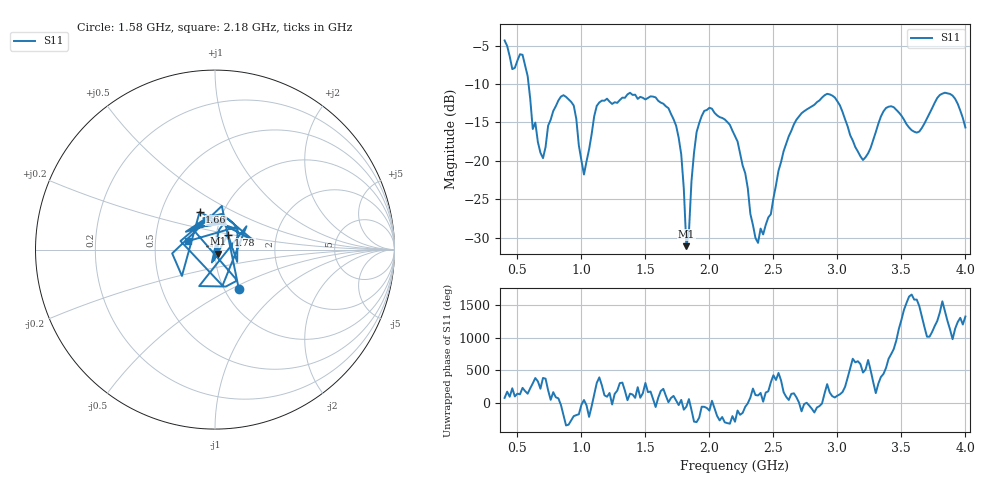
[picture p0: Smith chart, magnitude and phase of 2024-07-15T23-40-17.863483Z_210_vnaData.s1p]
!Created with skrf (http://scikit-rf.org).
# Hz S RI R 50.0
!freq ReS11 ImS11
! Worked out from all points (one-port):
!   181 points, 400 MHz to 4 GHz, reference 50 ohm
!   lowest |S11| = -31.1 dB at 1.82 GHz (marker M1), VSWR 1.06, Z = 51.6 - j2.34 ohm
!   |S11| at or under -10 dB: 587.1 MHz to end of sweep
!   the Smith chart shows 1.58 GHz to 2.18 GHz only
!   S11 on the Smith chart (normalised r, x): 1.58 GHz: 1.17, -0.55; 1.66 GHz: 0.78, +0.34; 1.78 GHz: 1.14, +0.19; 2.18 GHz: 0.74, +0.07
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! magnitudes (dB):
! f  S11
! 400 MHz  -4.3
! 460 MHz  -8.1
! 540 MHz  -6.2
! 620 MHz  -15.8
! 700 MHz  -19.6
! 860 MHz  -11.5
! 940 MHz  -12.8
! 1.02 GHz  -21.8
! 1.12 GHz  -12.8
! 1.3 GHz  -12.1
! 1.58 GHz  -11.7
! 1.66 GHz  -12.9
! 1.76 GHz  -17.0
! 1.78 GHz  -19.2
! 1.82 GHz  -31.1
! 1.88 GHz  -18.9
! 1.94 GHz  -14.2
! 2.18 GHz  -16.1
! 2.2 GHz  -16.8
! 2.38 GHz  -30.7
! 2.66 GHz  -15.3
! 2.92 GHz  -11.3
! 3.1 GHz  -16.7
! 3.2 GHz  -19.9
! 3.38 GHz  -13.1
! 3.56 GHz  -15.7
! 3.84 GHz  -11.1
! 4 GHz  -15.7
